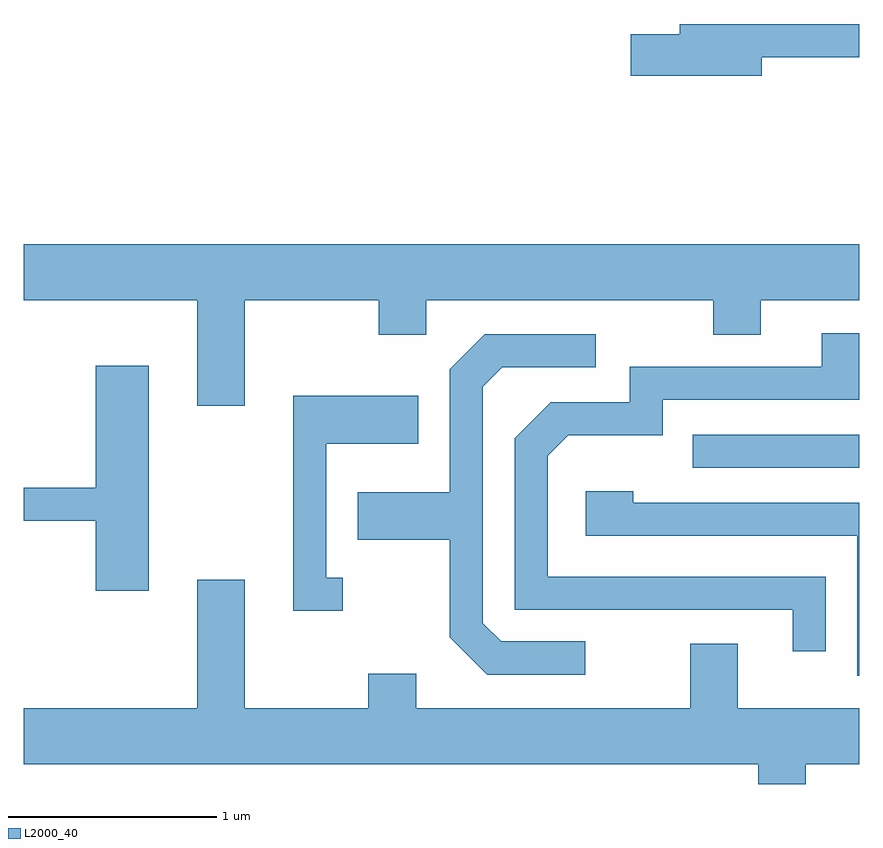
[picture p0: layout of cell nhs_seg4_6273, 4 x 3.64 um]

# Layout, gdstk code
import gdstk
lib = gdstk.Library(unit=1e-6, precision=1e-09)
def R(c, l, rs):  # rectangles x0, y0, x1, y1
    for r in rs: c.add(gdstk.rectangle(r[:2], r[2:], *l))
def P(c, l, *ps):  # polygons
    for p in ps: c.add(gdstk.Polygon(p, *l))
L2000_40 = (2000, 40)

nhs_seg4_6273 = lib.new_cell('nhs_seg4_6273')
R(nhs_seg4_6273, L2000_40, [(372.813,1289.496,373.611,1289.654)])
P(nhs_seg4_6273, L2000_40, [(373.144,1291.461),(373.611,1291.461),(373.611,1291.619),(372.751,1291.619),(372.751,1291.569),(372.516,1291.569),(372.516,1291.371),(373.144,1291.371)],
  [(370.669,1290.296),(371.311,1290.296),(371.311,1290.131),(371.539,1290.131),(371.539,1290.296),(372.911,1290.296),(372.911,1290.131),(373.139,1290.131),(373.139,1290.296),(373.611,1290.296),(373.611,1290.564),(369.611,1290.564),(369.611,1290.296),(370.441,1290.296),(370.441,1289.791),(370.669,1289.791)],
  [(373.449,1288.974),(372.119,1288.974),(372.119,1289.554),(372.217,1289.651),(372.669,1289.651),(372.669,1289.821),(373.611,1289.821),(373.611,1290.139),(373.431,1290.139),(373.431,1289.979),(372.511,1289.979),(372.511,1289.809),(372.134,1289.809),(371.961,1289.637),(371.961,1288.816),(373.291,1288.816),(373.291,1288.618),(373.449,1288.618)],
  [(372.298,1288.664),(371.897,1288.664),(371.809,1288.752),(371.809,1289.884),(371.902,1289.976),(372.348,1289.976),(372.348,1290.134),(371.819,1290.134),(371.651,1289.967),(371.651,1289.379),(371.211,1289.379),(371.211,1289.151),(371.651,1289.151),(371.651,1288.684),(371.829,1288.506),(372.298,1288.506)],
  [(370.209,1289.984),(369.956,1289.984),(369.956,1289.399),(369.611,1289.399),(369.611,1289.241),(369.956,1289.241),(369.956,1288.906),(370.209,1288.906)],
  [(371.138,1288.969),(371.059,1288.969),(371.059,1289.611),(371.499,1289.611),(371.499,1289.839),(370.901,1289.839),(370.901,1288.811),(371.138,1288.811)],
  [(373.611,1289.329),(372.529,1289.329),(372.529,1289.384),(372.301,1289.384),(372.301,1289.171),(373.601,1289.171),(373.601,1288.501),(373.611,1288.501)],
  [(373.354,1288.076),(373.611,1288.076),(373.611,1288.344),(373.029,1288.344),(373.029,1288.654),(372.801,1288.654),(372.801,1288.344),(371.489,1288.344),(371.489,1288.509),(371.261,1288.509),(371.261,1288.344),(370.669,1288.344),(370.669,1288.959),(370.441,1288.959),(370.441,1288.344),(369.611,1288.344),(369.611,1288.076),(373.126,1288.076),(373.126,1287.982),(373.354,1287.982)])

lib.write_gds('nhs_seg4_6273.gds')
